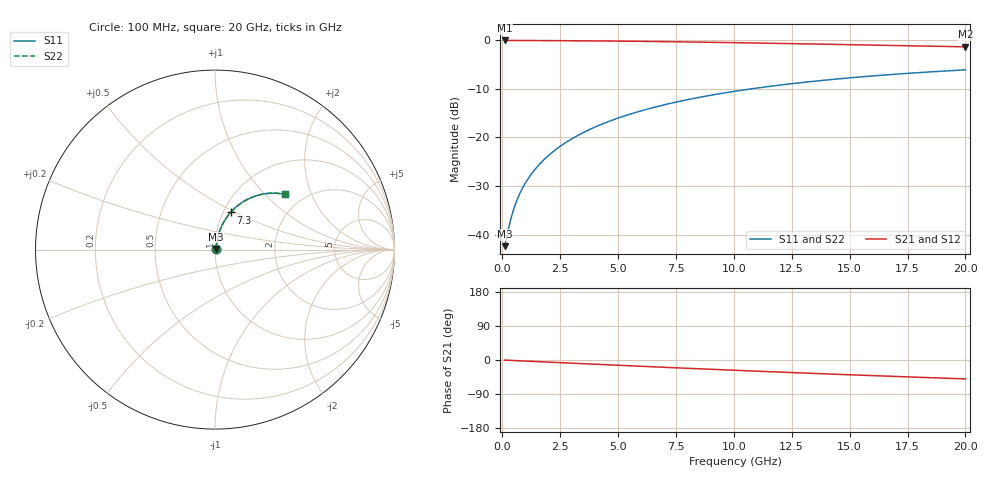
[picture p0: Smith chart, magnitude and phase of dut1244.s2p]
! Touchstone file exported from HFSS 2026.1.0
!  File:  C:/ffzhzh/LocalFiles/Ansys_Project_Files/temp_train_BSMRDL_1244_1783177215_55132.aedt
!  Generated:  11:01:28 PM Jul  4, 2026
!  Design:  BSMRDL
!  Project:  temp_train_BSMRDL_1244_1783177215_55132
! Variables:
!  h_bsmrdl = 2.5um
!  h_ox = 20um
!  h_rdl = 5um
!  h_sub = 80um
!  h_tmrdl = 5um
!  h_tsv = 80um
!  h_via = 3um
!  l_bsmrdl = 714.46um
!  l_sub = 1114.46um
!  l_tmrdl = 200um
!  m_sub = 200um
!  pitch = 42.57um
!  r_tsv = 6um
!  s_tmrdl = 10um
!  w_bsmrdl = 15.22um
!  w_sub = 500um
!  w_tmrdl = 12um
!  x_tsv_center1 = 206um
!  x_tsv_center2 = 935.68um
!  x_tsv_center3 = 1147.68um
!  x_tsv_center4 = 1877.36um
!  x_tsv_center5 = 2089.36um
!  x_tsv_center6 = 2819.04um
# GHz S MA R 50.000000
! Terminal data exported
! Port[1] = BSM_RDL1_1_T1
! Port[2] = BSM_RDL1_1_T2
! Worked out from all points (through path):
!   200 points, 100 MHz to 20 GHz, reference 50 ohm
!   highest |S21| = -0.06 dB at 100 MHz (marker M1); lowest = -1.4 dB at 20 GHz (marker M2)
!   group delay of S21, straight-line fit = 6.94 ps
!   lowest |S11| = -42.4 dB at 100 MHz (marker M3), VSWR 1.02, Z = 50.7 + j0.348 ohm
!   |S11| at or under -10 dB: start of sweep to 10.78 GHz
!   |S22| runs from -42.4 to -6.1 dB; largest |S21 - S12| = 3.5e-15
!   S11 on the Smith chart (normalised r, x): 100 MHz: 1.01, +0.01; 7.3 GHz: 1.08, +0.47; 20 GHz: 1.60, +1.31
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0.1  0.007586 26.9  0.9932 -0.3  0.9932 -0.3  0.007586 26.9
! Gamma 0 0 0 0
! Port Impedance 50 0 50 0
0.3  0.01244 55.0  0.993 -0.9  0.993 -0.9  0.01244 55.0
0.4  0.0154 61.2  0.9928 -1.2  0.9928 -1.2  0.0154 61.2
0.5  0.01846 65.3  0.9926 -1.5  0.9926 -1.5  0.01846 65.3
0.6  0.02155 68.0  0.9923 -1.7  0.9923 -1.7  0.02155 68.0
0.7  0.02465 70.0  0.9921 -2.0  0.9921 -2.0  0.02465 70.0
0.9  0.03087 72.7  0.9917 -2.6  0.9917 -2.6  0.03087 72.7
1.2  0.04021 74.9  0.9911 -3.4  0.9911 -3.4  0.04021 74.9
1.4  0.04646 75.8  0.9907 -4.0  0.9907 -4.0  0.04646 75.8
1.7  0.05584 76.5  0.9901 -4.8  0.9901 -4.8  0.05585 76.5
2.2  0.07151 76.9  0.9889 -6.2  0.9889 -6.2  0.07151 76.9
2.8  0.09028 76.5  0.9872 -7.9  0.9872 -7.9  0.09028 76.5
3.5  0.112 75.6  0.9847 -9.8  0.9847 -9.8  0.112 75.6
4.2  0.1336 74.3  0.9818 -11.7  0.9818 -11.7  0.1336 74.3
5  0.1578 72.6  0.9779 -13.9  0.9779 -13.9  0.1578 72.6
6.8  0.2106 68.4  0.9673 -18.8  0.9673 -18.8  0.2106 68.4
7.3  0.2248 67.2  0.9639 -20.1  0.9639 -20.1  0.2248 67.2
8.6  0.2604 64.1  0.9543 -23.5  0.9543 -23.5  0.2604 64.1
10.1  0.2994 60.4  0.9423 -27.3  0.9423 -27.3  0.2994 60.4
13.4  0.3765 52.7  0.9133 -35.3  0.9133 -35.3  0.3765 52.7
16.7  0.4415 45.4  0.8831 -42.8  0.8831 -42.8  0.4415 45.3
20  0.495 38.5  0.8542 -49.8  0.8542 -49.8  0.495 38.5
